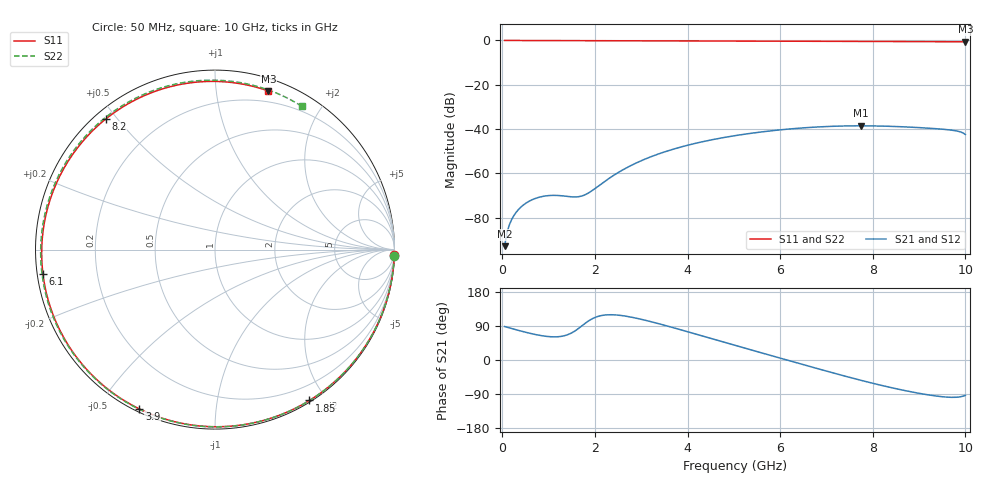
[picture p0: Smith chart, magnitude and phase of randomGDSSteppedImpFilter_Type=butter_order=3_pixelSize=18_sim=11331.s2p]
! freq	dB(S11)	phase(S11)	dB(S12)	phase(S12)
!  dB(S21)	phase(S21)	dB(S22)	phase(S22)
!S-par simulation data
#  GHz  S  DB  R 50
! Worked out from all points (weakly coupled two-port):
!   200 points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, 50 MHz to 10 GHz, reference 50 ohm
!   highest |S21| = -38.52 dB at 7.75 GHz (marker M1); lowest = -92.8 dB at 50 MHz (marker M2)
!   lowest |S11| = -0.6 dB at 10 GHz (marker M3), VSWR 28.61, Z = 5.12 + j69.4 ohm
!   |S11| at or under -10 dB: nowhere
!   |S22| runs from -0.6 to 0.0 dB; largest |S21 - S12| = 0
!   S11 on the Smith chart (normalised r, x): 50 MHz: 0, -70; 1.85 GHz: 0.02, -1.81; 3.9 GHz: 0.01, -0.63; 6.1 GHz: 0.02, -0.07; 8.2 GHz: 0.03, +0.47; 10 GHz: 0.10, +1.39
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0.05  -0.00 -1.6  -92.82 88.3  -92.82 88.3  -0.00 -1.9
0.2  -0.01 -6.5  -80.89 83.1  -80.89 83.1  -0.01 -7.7
0.45  -0.02 -14.5  -74.33 74.9  -74.33 74.9  -0.02 -17.1
0.8  -0.03 -25.6  -70.71 65.2  -70.71 65.2  -0.04 -30.3
1.3  -0.05 -41.2  -70.12 63.0  -70.12 63.0  -0.06 -48.5
1.6  -0.06 -50.4  -70.60 79.2  -70.60 79.2  -0.07 -59.1
1.75  -0.07 -54.9  -69.94 93.1  -69.94 93.1  -0.08 -64.3
1.85  -0.07 -57.9  -68.94 102.0  -68.94 102.0  -0.08 -67.7
2.65  -0.10 -81.2  -57.83 116.0  -57.83 116.0  -0.11 -93.8
3.4  -0.13 -102.0  -51.01 95.1  -51.01 95.1  -0.14 -116.3
3.9  -0.15 -115.4  -47.83 78.1  -47.83 78.1  -0.16 -130.4
4.5  -0.18 -131.0  -44.92 57.1  -44.92 57.1  -0.18 -146.7
5.05  -0.21 -145.1  -42.87 37.9  -42.87 37.9  -0.21 -161.3
6.1  -0.28 -172.0  -40.13 1.5  -40.13 1.5  -0.27 171.4
6.7  -0.33 172.3  -39.16 -19.1  -39.16 -19.1  -0.31 155.7
7.25  -0.37 157.3  -38.65 -37.6  -38.65 -37.6  -0.36 140.9
7.75  -0.42 143.2  -38.52 -53.8  -38.52 -53.8  -0.40 127.0
8.2  -0.46 129.9  -38.64 -67.4  -38.64 -67.4  -0.43 114.1
8.35  -0.47 125.4  -38.72 -71.6  -38.72 -71.6  -0.44 109.7
9.2  -0.54 98.4  -39.57 -92.0  -39.57 -92.0  -0.52 84.0
9.8  -0.59 78.3  -40.79 -98.3  -40.79 -98.3  -0.58 65.1
10  -0.61 71.4  -42.43 -93.4  -42.43 -93.4  -0.60 58.7
